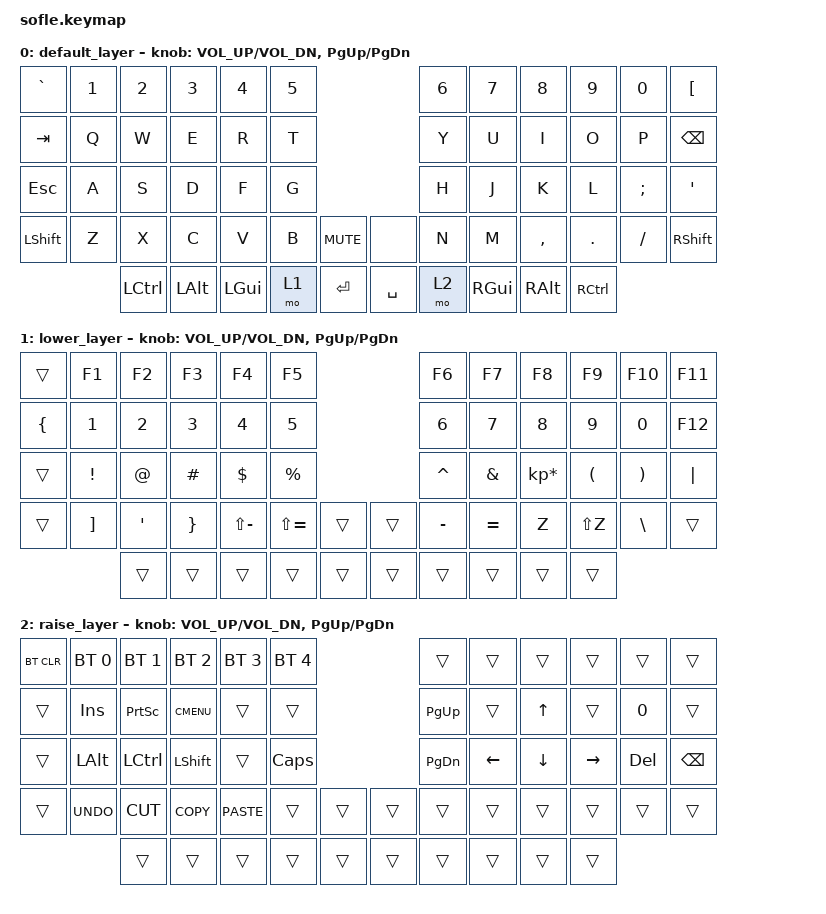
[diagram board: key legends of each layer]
/*
 * Copyright (c) 2020 The ZMK Contributors
 *
 * SPDX-License-Identifier: MIT
 */

#include <behaviors.dtsi>
#include <dt-bindings/zmk/keys.h>
#include <dt-bindings/zmk/bt.h>

/ {
    keymap {
        compatible = "zmk,keymap";

        default_layer {
// ------------------------------------------------------------------------------------------------------------
// |  `    |  1  |  2  |  3   |  4   |  5   |                   |  6   |  7    |  8    |  9   |   0   |   /   |
// |  TAB  |  '  |  ,  |  .   |  P   |  Y   |                   |  F   |  G    |  C    |  R   |   L   | BKSPC |
// |  ESC  |  A  |  O  |  E   |  U   |  I   |                   |  D   |  H    |  T    |  N   |   S   |   -   |
// | SHIFT |  ;  |  Q  |  J   |  K   |  X   |  MUTE  |  |       |  B   |  M    |  W    |  V   |   Z   | SHIFT |
//               | CTRL| ALT  | GUI  | LOWER|  ENTER |  | SPACE | RAISE| GUI   | ALT   | CTRL |
            bindings = <
&kp GRAVE &kp N1 &kp N2   &kp N3   &kp N4    &kp N5                      &kp N6 &kp N7    &kp N8    &kp N9   &kp N0   &kp LBKT 
&kp TAB   &kp Q  &kp W    &kp E    &kp R     &kp T                       &kp Y  &kp U     &kp I     &kp O    &kp P    &kp BSPC
&kp ESC   &kp A  &kp S    &kp D    &kp F     &kp G                       &kp H  &kp J     &kp K     &kp L    &kp SEMI &kp SQT
&kp LSHFT &kp Z  &kp X    &kp C    &kp V     &kp B  &kp C_MUTE &none     &kp N  &kp M     &kp COMMA &kp DOT  &kp FSLH &kp RSHFT
                 &kp LCTRL &kp LALT &kp LGUI &mo 1  &kp RET    &kp SPACE &mo 2  &kp RGUI &kp RALT  &kp RCTRL
            >;

            sensor-bindings = <&inc_dec_kp C_VOL_UP C_VOL_DN &inc_dec_kp PG_UP PG_DN>;
        };

        lower_layer {
// TODO: Some binds are waiting for shifted keycode support.
// ------------------------------------------------------------------------------------------------------------
// |       |  F1 |  F2 |  F3  |  F4  |  F5  |                   |  F6  |  F7   |  F8   |  F9  |  F10  |  F11  |
// | `     |   1 |   2 |   3  |   4  |   5  |                   |   6  |   7   |   8   |   9  |    0  |  F12  |
// |       |  !  |  @  |  #   |  $   |  %   |                   |  ^   |  &    |  *    |  (   |   )   |   |   |
// |       |  =  |  -  |  +   |  {   |  }   |        |  |       |  [   |  ]    |  ;    |  :   |   \   |       |
//               |     |      |      |      |        |  |       |      |       |       |      |
            bindings = <
&trans    &kp F1    &kp F2    &kp F3      &kp F4    &kp F5                    &kp F6    &kp F7   &kp F8          &kp F9    &kp F10   &kp F11
&kp LBRC &kp N1    &kp N2    &kp N3      &kp N4    &kp N5                    &kp N6    &kp N7   &kp N8          &kp N9    &kp N0    &kp F12
&trans    &kp EXCL  &kp AT    &kp HASH    &kp DLLR  &kp PRCNT                 &kp CARET &kp AMPS &kp KP_MULTIPLY &kp LPAR  &kp RPAR  &kp PIPE
&trans    &kp RBKT &kp SQT &kp RBRC &kp LS(MINUS)  &kp LS(EQUAL)  &trans   &trans &kp MINUS  &kp EQUAL &kp Z        &kp LS(Z) &kp BSLH  &trans
                    &trans    &trans      &trans    &trans    &trans   &trans &trans    &trans   &trans          &trans
            >;

            sensor-bindings = <&inc_dec_kp C_VOL_UP C_VOL_DN &inc_dec_kp PG_UP PG_DN>;
        };

        raise_layer {
// ------------------------------------------------------------------------------------------------------------
// |BTCLR| BT1  | BT2  |  BT3  |  BT4  |  BT5 |                |      |      |       |      |       |       |
// |     | INS  | PSCR | GUI   |       |      |                | PGUP |      |   ^   |      |       |       |
// |     | ALT  | CTRL | SHIFT |       | CAPS |                | PGDN |   <- |   v   |  ->  |  DEL  | BKSPC |
// |     | UNDO | CUT  | COPY  | PASTE |      |      |  |      |      |      |       |      |       |       |
//              |      |       |       |      |      |  |      |      |      |       |      |
            bindings = <
&bt BT_CLR &bt BT_SEL 0 &bt BT_SEL 1 &bt BT_SEL 2 &bt BT_SEL 3 &bt BT_SEL 4             &trans    &trans    &trans   &trans    &trans  &trans
&trans     &kp INS      &kp PSCRN    &kp K_CMENU  &trans       &trans                   &kp PG_UP &trans    &kp UP   &trans    &kp N0  &trans
&trans     &kp LALT     &kp LCTRL    &kp LSHFT    &trans       &kp CLCK                 &kp PG_DN &kp LEFT  &kp DOWN &kp RIGHT &kp DEL &kp BSPC
&trans     &kp K_UNDO   &kp K_CUT    &kp K_COPY   &kp K_PASTE  &trans  &trans   &trans  &trans    &trans    &trans   &trans    &trans  &trans
                        &trans       &trans       &trans       &trans  &trans   &trans  &trans    &trans    &trans   &trans
            >;

            sensor-bindings = <&inc_dec_kp C_VOL_UP C_VOL_DN &inc_dec_kp PG_UP PG_DN>;
        };
    };
};
